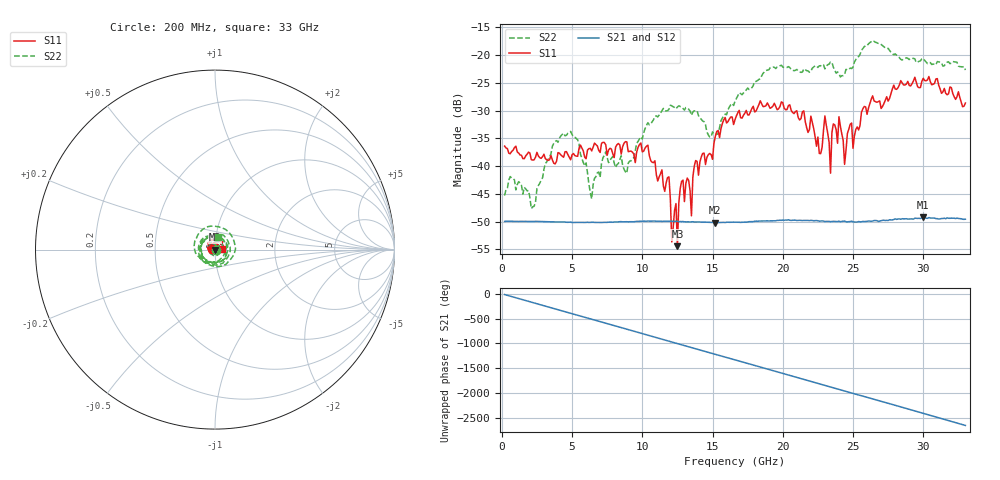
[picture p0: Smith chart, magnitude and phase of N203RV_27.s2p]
# GHZ S RI R 50
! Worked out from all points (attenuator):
!   329 points, 200 MHz to 33 GHz, reference 50 ohm
!   highest |S21| = -49.24 dB at 30 GHz (marker M1); lowest = -50.2 dB at 15.2 GHz (marker M2)
!   lowest |S11| = -54.4 dB at 12.5 GHz (marker M3), VSWR 1.00, Z = 49.8 - j0.0301 ohm
!   |S11| at or under -10 dB: start of sweep to end of sweep
!   |S22| runs from -47.7 to -17.4 dB; largest |S21 - S12| = 7.3e-05
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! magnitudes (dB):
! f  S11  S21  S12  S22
! 200 MHz  -36.4  -50.0  -49.9  -45.3
! 5.7 GHz  -36.7  -50.1  -50.1  -38.6
! 6.4 GHz  -37.3  -50.1  -50.1  -45.9
! 11.2 GHz  -42.0  -49.9  -49.9  -30.8
! 11.9 GHz  -41.9  -49.9  -49.9  -29.8
! 12.1 GHz  -53.7  -49.9  -49.9  -29.1
! 12.4 GHz  -46.8  -49.9  -49.9  -29.7
! 12.5 GHz  -54.4  -49.9  -49.9  -29.4
! 12.8 GHz  -42.8  -50.0  -50.0  -29.4
! 13.5 GHz  -49.0  -50.1  -50.0  -30.8
! 13.8 GHz  -39.0  -50.1  -50.1  -30.0
! 15.2 GHz  -34.7  -50.2  -50.1  -34.4
! 16.6 GHz  -31.7  -50.1  -50.1  -28.4
! 22.1 GHz  -32.1  -49.8  -49.8  -22.4
! 22.7 GHz  -37.8  -49.9  -49.9  -22.0
! 23 GHz  -31.0  -50.0  -49.9  -22.5
! 23.4 GHz  -41.3  -50.0  -50.0  -21.3
! 24 GHz  -31.1  -49.9  -49.9  -23.4
! 24.4 GHz  -39.7  -49.9  -49.9  -23.5
! 27.6 GHz  -27.8  -49.7  -49.7  -19.2
! 30 GHz  -24.2  -49.2  -49.3  -20.6
! 33 GHz  -28.7  -49.6  -49.6  -22.7
